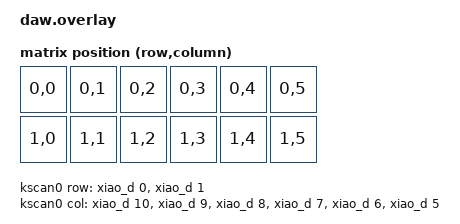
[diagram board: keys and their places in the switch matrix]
#include <dt-bindings/zmk/matrix_transform.h>
#include <physical_layouts.dtsi>

/ {
    chosen {
        zmk,physical-layout = &physical_layout0;
    };

physical_layout0: physical_layout_0 {
        compatible = "zmk,physical-layout";
        display-name = "Default Layout";
        kscan = <&kscan0>;
        transform = <&default_transform>;
	keys  //                      w   h  x   y rot rx ry
	    = <&key_physical_attrs 100 100   0   0   0  0  0>
	    , <&key_physical_attrs 100 100 100   0   0  0  0>
	    , <&key_physical_attrs 100 100 200   0   0  0  0>
	    , <&key_physical_attrs 100 100 300   0   0  0  0>
        , <&key_physical_attrs 100 100 400   0   0  0  0>
        , <&key_physical_attrs 100 100 500   0   0  0  0>
        , <&key_physical_attrs 100 100   0 100   0  0  0>
        , <&key_physical_attrs 100 100 100 100   0  0  0>
	    , <&key_physical_attrs 100 100 200 100   0  0  0>
        , <&key_physical_attrs 100 100 300 100   0  0  0>
        , <&key_physical_attrs 100 100 400 100   0  0  0>
        , <&key_physical_attrs 100 100 500 100   0  0  0>
	    ;
    };

    default_transform: keymap_transform0 {
        compatible = "zmk,matrix-transform";
        rows = <2>;
        columns = <6>;
        map = <
            RC(0,0) RC(0,1) RC(0,2) RC(0,3) RC(0,4) RC(0,5)
            RC(1,0) RC(1,1) RC(1,2) RC(1,3) RC(1,4) RC(1,5)
        >;
    };

    kscan0: kscan0 {
        compatible = "zmk,kscan-gpio-matrix";
        diode-direction = "col2row";
        col-gpios
            = <&xiao_d 10 GPIO_ACTIVE_HIGH>
            , <&xiao_d 9 GPIO_ACTIVE_HIGH>
            , <&xiao_d 8 GPIO_ACTIVE_HIGH>
            , <&xiao_d 7 GPIO_ACTIVE_HIGH>
            , <&xiao_d 6 GPIO_ACTIVE_HIGH>
            , <&xiao_d 5 GPIO_ACTIVE_HIGH>
            ;
        row-gpios
            = <&xiao_d 0 (GPIO_ACTIVE_HIGH | GPIO_PULL_DOWN)>
            , <&xiao_d 1 (GPIO_ACTIVE_HIGH | GPIO_PULL_DOWN)>
            ;
    };
};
